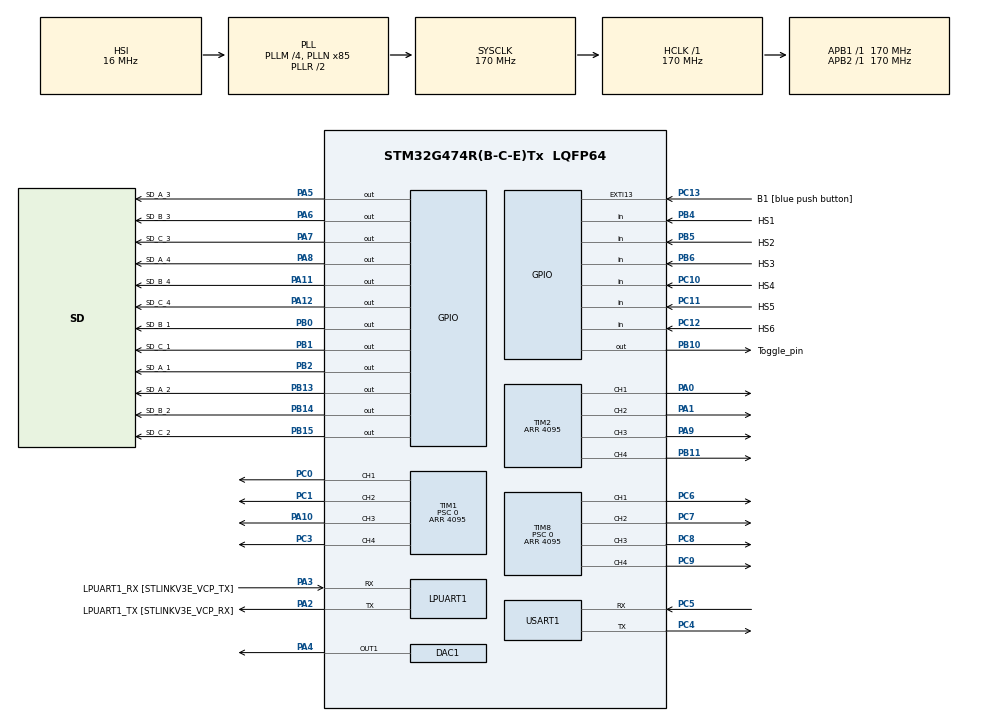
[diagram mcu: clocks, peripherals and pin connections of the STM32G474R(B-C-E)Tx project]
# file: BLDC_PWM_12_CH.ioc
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Mcu.Family=STM32G4
Mcu.Name=STM32G474R(B-C-E)Tx
Mcu.Package=LQFP64
NVIC.EXTI15_10_IRQn=true\:0\:0\:false\:false\:true\:true\:true\:true
NVIC.PriorityGroup=NVIC_PRIORITYGROUP_4
NVIC.TIM3_IRQn=true\:0\:0\:false\:false\:true\:true\:true\:true
NVIC.TIM6_DAC_IRQn=true\:0\:0\:false\:false\:true\:true\:true\:true
NVIC.USART1_IRQn=true\:0\:0\:false\:false\:true\:true\:true\:true
PA0.Signal=S_TIM2_CH1
PA1.Signal=S_TIM2_CH2
PA10.Signal=S_TIM1_CH3
PA11.GPIO_Label=SD_B_4
PA11.Signal=GPIO_Output
PA12.GPIO_Label=SD_C_4
PA12.Signal=GPIO_Output
PA13.GPIO_Label=T_SWDIO
PA13.Mode=Serial_Wire
PA13.Signal=SYS_JTMS-SWDIO
PA14.GPIO_Label=T_SWCLK
PA14.Mode=Serial_Wire
PA14.Signal=SYS_JTCK-SWCLK
PA2.GPIO_Label=LPUART1_TX [STLINKV3E_VCP_RX]
PA2.Mode=Asynchronous
PA2.Signal=LPUART1_TX
PA3.GPIO_Label=LPUART1_RX [STLINKV3E_VCP_TX]
PA3.Mode=Asynchronous
PA3.Signal=LPUART1_RX
PA4.Signal=COMP_DAC11_group
PA5.GPIO_Label=SD_A_3
PA5.Signal=GPIO_Output
PA6.GPIO_Label=SD_B_3
PA6.Signal=GPIO_Output
PA7.GPIO_Label=SD_C_3
PA7.Signal=GPIO_Output
PA8.GPIO_Label=SD_A_4
PA8.Signal=GPIO_Output
PA9.Signal=S_TIM2_CH3
PB0.GPIO_Label=SD_B_1
PB0.Signal=GPIO_Output
PB1.GPIO_Label=SD_C_1
PB1.Signal=GPIO_Output
PB10.GPIO_Label=Toggle_pin
PB10.Signal=GPIO_Output
PB11.Signal=S_TIM2_CH4
PB13.GPIO_Label=SD_A_2
PB13.Signal=GPIO_Output
PB14.GPIO_Label=SD_B_2
PB14.Signal=GPIO_Output
PB15.GPIO_Label=SD_C_2
PB15.Signal=GPIO_Output
PB2.GPIO_Label=SD_A_1
PB2.Signal=GPIO_Output
PB3.GPIO_Label=T_SWO
PB3.Signal=SYS_JTDO-SWO
PB4.GPIO_Label=HS1
PB4.GPIO_PuPd=GPIO_PULLDOWN
PB4.Signal=GPIO_Input
PB5.GPIO_Label=HS2
PB5.GPIO_PuPd=GPIO_PULLDOWN
PB5.Signal=GPIO_Input
PB6.GPIO_Label=HS3
PB6.GPIO_PuPd=GPIO_PULLDOWN
PB6.Signal=GPIO_Input
PC0.Signal=S_TIM1_CH1
PC1.Signal=S_TIM1_CH2
PC10.GPIO_Label=HS4
PC10.GPIO_PuPd=GPIO_PULLDOWN
PC10.Signal=GPIO_Input
PC11.GPIO_Label=HS5
PC11.GPIO_PuPd=GPIO_PULLDOWN
PC11.Signal=GPIO_Input
PC12.GPIO_Label=HS6
PC12.GPIO_PuPd=GPIO_PULLDOWN
PC12.Signal=GPIO_Input
PC13.GPIO_Label=B1 [blue push button]
PC13.Signal=GPXTI13
PC14-OSC32_IN.Mode=LSE-External-Oscillator
PC14-OSC32_IN.Signal=RCC_OSC32_IN
PC15-OSC32_OUT.Mode=LSE-External-Oscillator
PC15-OSC32_OUT.Signal=RCC_OSC32_OUT
PC3.Signal=S_TIM1_CH4
PC4.Mode=Asynchronous
PC4.Signal=USART1_TX
PC5.Mode=Asynchronous
PC5.Signal=USART1_RX
PC6.Signal=S_TIM8_CH1
PC7.Signal=S_TIM8_CH2
PC8.Signal=S_TIM8_CH3
PC9.Signal=S_TIM8_CH4
PF0-OSC_IN.Mode=HSE-External-Oscillator
PF0-OSC_IN.Signal=RCC_OSC_IN
PF1-OSC_OUT.Mode=HSE-External-Oscillator
PF1-OSC_OUT.Signal=RCC_OSC_OUT
ProjectManager.HeapSize=0x200
ProjectManager.StackSize=0x400
ProjectManager.TargetToolchain=STM32CubeIDE
RCC.ADC12Freq_Value=170000000
RCC.ADC345Freq_Value=170000000
RCC.AHBFreq_Value=170000000
RCC.APB1Freq_Value=170000000
RCC.APB1TimFreq_Value=170000000
RCC.APB2Freq_Value=170000000
RCC.APB2TimFreq_Value=170000000
RCC.CortexFreq_Value=170000000
RCC.EXTERNAL_CLOCK_VALUE=12288000
RCC.HCLKFreq_Value=170000000
RCC.HSE_VALUE=24000000
RCC.HSI48_VALUE=48000000
RCC.HSI_VALUE=16000000
RCC.PLLM=RCC_PLLM_DIV4
RCC.PLLN=85
RCC.RTCClockSelection=RCC_RTCCLKSOURCE_LSE
RCC.SYSCLKFreq_VALUE=170000000
RCC.SYSCLKSource=RCC_SYSCLKSOURCE_PLLCLK
RCC.USBFreq_Value=170000000
RCC.VCOOutputFreq_Value=340000000
SH.COMP_DAC11_group.0=DAC1_OUT1,DAC_OUT1
SH.S_TIM1_CH1.0=TIM1_CH1,PWM Generation1 CH1
SH.S_TIM1_CH2.0=TIM1_CH2,PWM Generation2 CH2
SH.S_TIM1_CH3.0=TIM1_CH3,PWM Generation3 CH3
SH.S_TIM1_CH4.0=TIM1_CH4,PWM Generation4 CH4
SH.S_TIM2_CH1.0=TIM2_CH1,PWM Generation1 CH1
SH.S_TIM2_CH2.0=TIM2_CH2,PWM Generation2 CH2
SH.S_TIM2_CH3.0=TIM2_CH3,PWM Generation3 CH3
SH.S_TIM2_CH4.0=TIM2_CH4,PWM Generation4 CH4
SH.S_TIM8_CH1.0=TIM8_CH1,PWM Generation1 CH1
SH.S_TIM8_CH2.0=TIM8_CH2,PWM Generation2 CH2
SH.S_TIM8_CH3.0=TIM8_CH3,PWM Generation3 CH3
SH.S_TIM8_CH4.0=TIM8_CH4,PWM Generation4 CH4
TIM1.Channel-PWM\ Generation1\ CH1=TIM_CHANNEL_1
TIM1.Channel-PWM\ Generation2\ CH2=TIM_CHANNEL_2
TIM1.Channel-PWM\ Generation3\ CH3=TIM_CHANNEL_3
TIM1.Channel-PWM\ Generation4\ CH4=TIM_CHANNEL_4
TIM1.ClockDivision=TIM_CLOCKDIVISION_DIV1
TIM1.CounterMode=TIM_COUNTERMODE_CENTERALIGNED1
TIM1.OCMode_PWM-PWM\ Generation1\ CH1=TIM_OCMODE_PWM1
TIM1.OCMode_PWM-PWM\ Generation2\ CH2=TIM_OCMODE_PWM1
TIM1.OCMode_PWM-PWM\ Generation3\ CH3=TIM_OCMODE_PWM1
TIM1.PeriodNoDither=4095
TIM1.Prescaler=0
TIM2.Channel-PWM\ Generation1\ CH1=TIM_CHANNEL_1
TIM2.Channel-PWM\ Generation2\ CH2=TIM_CHANNEL_2
TIM2.Channel-PWM\ Generation3\ CH3=TIM_CHANNEL_3
TIM2.Channel-PWM\ Generation4\ CH4=TIM_CHANNEL_4
TIM2.CounterMode=TIM_COUNTERMODE_CENTERALIGNED1
TIM2.PeriodNoDither=4095
TIM3.Channel-PWM\ Generation1\ No\ Output=TIM_CHANNEL_1
TIM3.Prescaler=5
TIM3.PulseNoDither_1=16000
TIM6.Prescaler=4095
TIM8.Channel-PWM\ Generation1\ CH1=TIM_CHANNEL_1
TIM8.Channel-PWM\ Generation2\ CH2=TIM_CHANNEL_2
TIM8.Channel-PWM\ Generation3\ CH3=TIM_CHANNEL_3
TIM8.Channel-PWM\ Generation4\ CH4=TIM_CHANNEL_4
TIM8.CounterMode=TIM_COUNTERMODE_CENTERALIGNED1
TIM8.PeriodNoDither=4095
TIM8.Prescaler=0
USART1.VirtualMode-Asynchronous=VM_ASYNC
VP_SYS_VS_DBSignals.Mode=DisableDeadBatterySignals
VP_TIM3_VS_no_output1.Mode=PWM Generation1 No Output
VP_TIM6_VS_ClockSourceINT.Mode=Enable_Timer
board=NUCLEO-G474RE

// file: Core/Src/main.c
/* USER CODE BEGIN Header */
/**
  ******************************************************************************
  * @file           : main.c
  * @brief          : Main program body
  ******************************************************************************
  * @attention
  *
  * Copyright (c) 2022 STMicroelectronics.
  * All rights reserved.
  *
  * This software is licensed under terms that can be found in the LICENSE file
  * in the root directory of this software component.
  * If no LICENSE file comes with this software, it is provided AS-IS.
  *
  ******************************************************************************
  */
/* USER CODE END Header */
#include "main.h"

/* USER CODE BEGIN PTD */
#include <stdio.h>

/* USER CODE END PTD */

/* USER CODE BEGIN PD */
//Inverter 1
#define		SET_SD_A_1			HAL_GPIO_WritePin(GPIOB, SD_A_1_Pin, GPIO_PIN_SET)
#define		RESET_SD_A_1		HAL_GPIO_WritePin(GPIOB, SD_A_1_Pin, GPIO_PIN_RESET)
#define		SET_SD_B_1			HAL_GPIO_WritePin(GPIOB, SD_B_1_Pin, GPIO_PIN_SET)
#define		RESET_SD_B_1		HAL_GPIO_WritePin(GPIOB, SD_B_1_Pin, GPIO_PIN_RESET)
#define		SET_SD_C_1			HAL_GPIO_WritePin(GPIOB, SD_C_1_Pin, GPIO_PIN_SET)
#define		RESET_SD_C_1		HAL_GPIO_WritePin(GPIOB, SD_C_1_Pin, GPIO_PIN_RESET)

#define		IN_A_1				TIM1->CCR1
#define		IN_B_1				TIM1->CCR2
#define		IN_C_1				TIM1->CCR3

//Inverter 2
#define		SET_SD_A_2			HAL_GPIO_WritePin(GPIOB, SD_A_2_Pin, GPIO_PIN_SET)
#define		RESET_SD_A_2		HAL_GPIO_WritePin(GPIOB, SD_A_2_Pin, GPIO_PIN_RESET)
#define		SET_SD_B_2			HAL_GPIO_WritePin(GPIOB, SD_B_2_Pin, GPIO_PIN_SET)
#define		RESET_SD_B_2		HAL_GPIO_WritePin(GPIOB, SD_B_2_Pin, GPIO_PIN_RESET)
#define		SET_SD_C_2			HAL_GPIO_WritePin(GPIOB, SD_C_2_Pin, GPIO_PIN_SET)
#define		RESET_SD_C_2		HAL_GPIO_WritePin(GPIOB, SD_C_2_Pin, GPIO_PIN_RESET)

#define		IN_A_2				TIM8->CCR1
#define		IN_B_2				TIM8->CCR2
#define		IN_C_2				TIM8->CCR3

//Inverter 3
#define		SET_SD_A_3			HAL_GPIO_WritePin(GPIOA, SD_A_3_Pin, GPIO_PIN_SET)
#define		RESET_SD_A_3		HAL_GPIO_WritePin(GPIOA, SD_A_3_Pin, GPIO_PIN_RESET)
#define		SET_SD_B_3			HAL_GPIO_WritePin(GPIOA, SD_B_3_Pin, GPIO_PIN_SET)
#define		RESET_SD_B_3		HAL_GPIO_WritePin(GPIOA, SD_B_3_Pin, GPIO_PIN_RESET)
#define		SET_SD_C_3			HAL_GPIO_WritePin(GPIOA, SD_C_3_Pin, GPIO_PIN_SET)
#define		RESET_SD_C_3		HAL_GPIO_WritePin(GPIOA, SD_C_3_Pin, GPIO_PIN_RESET)

#define		IN_A_3				TIM2->CCR1
#define		IN_B_3				TIM2->CCR2
#define		IN_C_3				TIM2->CCR3

//Inverter 4
#define		SET_SD_A_4			HAL_GPIO_WritePin(GPIOA, SD_A_4_Pin, GPIO_PIN_SET)
#define		RESET_SD_A_4		HAL_GPIO_WritePin(GPIOA, SD_A_4_Pin, GPIO_PIN_RESET)
#define		SET_SD_B_4			HAL_GPIO_WritePin(GPIOA, SD_B_4_Pin, GPIO_PIN_SET)
#define		RESET_SD_B_4		HAL_GPIO_WritePin(GPIOA, SD_B_4_Pin, GPIO_PIN_RESET)
#define		SET_SD_C_4			HAL_GPIO_WritePin(GPIOA, SD_C_4_Pin, GPIO_PIN_SET)
#define		RESET_SD_C_4		HAL_GPIO_WritePin(GPIOA, SD_C_4_Pin, GPIO_PIN_RESET)

#define		IN_A_4				TIM1->CCR4
#define		IN_B_4				TIM8->CCR4
#define		IN_C_4				TIM2->CCR4

/* USER CODE END PD */

DAC_HandleTypeDef hdac1;

UART_HandleTypeDef hlpuart1;
UART_HandleTypeDef huart1;

TIM_HandleTypeDef htim1;
TIM_HandleTypeDef htim2;
TIM_HandleTypeDef htim3;
TIM_HandleTypeDef htim6;
TIM_HandleTypeDef htim8;

/* USER CODE BEGIN PV */

uint16_t PWM = 2048;

volatile uint16_t PWM1 = 0;
uint16_t PWM2 = 0;
uint16_t PWM3 = 0;
uint16_t PWM4 = 0;

uint16_t Delay = 6;

char debug_UART1[6] = {0};

/* USER CODE END PV */

void SystemClock_Config(void);
static void MX_GPIO_Init(void);
static void MX_LPUART1_UART_Init(void);
static void MX_TIM1_Init(void);
static void MX_DAC1_Init(void);
static void MX_USART1_UART_Init(void);
static void MX_TIM8_Init(void);
static void MX_TIM2_Init(void);
static void MX_TIM3_Init(void);
static void MX_TIM6_Init(void);
/* USER CODE BEGIN PFP */
void state0_inv1(void);
void state1_inv1(void);
void state2_inv1(void);
void state3_inv1(void);
void state4_inv1(void);
void state5_inv1(void);
void state6_inv1(void);
void stateOff_inv1(void);

void state0_inv2(void);
void state1_inv2(void);
void state2_inv2(void);
void state3_inv2(void);
void state4_inv2(void);
void state5_inv2(void);
void state6_inv2(void);
void stateOff_inv2(void);

void state0_inv3(void);
void state1_inv3(void);
void state2_inv3(void);
void state3_inv3(void);
void state4_inv3(void);
void state5_inv3(void);
void state6_inv3(void);
void stateOff_inv3(void);

void state0_inv4(void);
void state1_inv4(void);
void state2_inv4(void);
void state3_inv4(void);
void state4_inv4(void);
void state5_inv4(void);
void state6_inv4(void);
void stateOff_inv4(void);

void Module1_2inv(void);
void Module2_2inv(void);

void Inverter1(uint8_t);
void Inverter2(uint8_t);
void Inverter3(uint8_t);
void Inverter4(uint8_t);

/*
InverterX(1) - all switches are off
InverterX(2) - low switches are on, high switches are off
InverterX(3) - 120 deg. commutation with PWM
InverterX(4) - 120 deg. commutation without PWM
*/

/* USER CODE END PFP */

int main(void)
{

  /* MCU Configuration--------------------------------------------------------*/

  /* Reset of all peripherals, Initializes the Flash interface and the Systick. */
  HAL_Init();

  /* Configure the system clock */
  SystemClock_Config();

  /* Initialize all configured peripherals */
  MX_GPIO_Init();
  MX_LPUART1_UART_Init();
  MX_TIM1_Init();
  MX_DAC1_Init();
  MX_USART1_UART_Init();
  MX_TIM8_Init();
  MX_TIM2_Init();
  MX_TIM3_Init();
  MX_TIM6_Init();
  /* USER CODE BEGIN 2 */
  HAL_TIM_Base_Start_IT(&htim6);

  HAL_TIM_PWM_Start(&htim1, TIM_CHANNEL_1);
  HAL_TIM_PWM_Start(&htim1, TIM_CHANNEL_2);
  HAL_TIM_PWM_Start(&htim1, TIM_CHANNEL_3);
  HAL_TIM_PWM_Start(&htim1, TIM_CHANNEL_4);

  HAL_TIM_PWM_Start(&htim2, TIM_CHANNEL_1);
  HAL_TIM_PWM_Start(&htim2, TIM_CHANNEL_2);
  HAL_TIM_PWM_Start(&htim2, TIM_CHANNEL_3);
  HAL_TIM_PWM_Start(&htim2, TIM_CHANNEL_4);

  HAL_TIM_PWM_Start(&htim8, TIM_CHANNEL_1);
  HAL_TIM_PWM_Start(&htim8, TIM_CHANNEL_2);
  HAL_TIM_PWM_Start(&htim8, TIM_CHANNEL_3);
  HAL_TIM_PWM_Start(&htim8, TIM_CHANNEL_4);

  PWM1 = 0;
  PWM2 = 0;
  PWM3 = 0;
  PWM4 = 0;

//  TIM1->CCR1 = 2048;
//  TIM1->CCR2 = 2048;
//  TIM1->CCR3 = 2048;
//  TIM1->CCR4 = 1048;
//
//  TIM2->CCR1 = 2048;
//  TIM2->CCR2 = 2048;
//  TIM2->CCR3 = 2048;
//  TIM2->CCR4 = 2048;
//
//  TIM8->CCR1 = 2048;
//  TIM8->CCR2 = 2048;
//  TIM8->CCR3 = 2048;
//  TIM8->CCR4 = 2048;
  uint32_t timer;
  uint32_t time;

  uint8_t currentState = 0;
  uint32_t stateOffTime[20];
//  uint32_t timer1;

  /* USER CODE END 2 */

  /* Infinite loop */
  /* USER CODE BEGIN WHILE */
	while (1) {

		//new line
//		Module1_2inv();
//		Module2_2inv();

		/*
		InverterX(1) - all switches are off
		InverterX(2) - low switches are on, high switches are off
		InverterX(3) - 120 deg. commutation with PWM
		InverterX(4) - 120 deg. commutation without PWM
		*/

		time = HAL_GetTick();

		switch (currentState)
		{
		case 0:
			Inverter1(1);
			Inverter2(1);
			Inverter3(1);
			Inverter4(1);
			if (time >= 3000)
			{
				stateOffTime[0] = time;
				currentState = 1;

			}

			break;
		case 1:
			if (time >= timer)
			{
				timer = time + 20;
				PWM1 += 10;
				PWM2 += 10;
			}

			if (PWM1 > 4095)
			{
				PWM1 = 4095;
				PWM2 = 4095;
				currentState = 2;
				stateOffTime[1] = time;
			}
//			PWM1 = 2000;
//			PWM2 = 2000;

			Inverter1(3);
			Inverter2(3);
			Inverter3(2);
			Inverter4(2);
			break;

		case 2:

			if ((time -stateOffTime[1]) >=4000)
			{
				currentState = 3;
				stateOffTime[2] = time;
			}

			Inverter1(4);
			Inverter2(1);
			Inverter3(2);
			Inverter4(1);
			break;

		case 3:
			if (time >= timer)
			{
				timer = time + 20;
				PWM3 += 10;
				PWM4 += 10;
			}

			if (PWM3 > 4095)
			{
				PWM3 = 4095;
				PWM4 = 4095;
				currentState = 4;
				stateOffTime[3] = time;
			}
//			PWM1 = 2000;
//			PWM2 = 2000;

			Inverter1(4);
			Inverter2(4);
			Inverter3(3);
			Inverter4(3);
			break;

		case 4:
		if ((time -stateOffTime[3]) >=4000)
		{
			currentState = 5;
			stateOffTime[2] = time;
		}

		Inverter1(4);
		Inverter2(1);
		Inverter3(4);
		Inverter4(1);
		break;

		case 5:
			if (time >= timer)
			{
				timer = time + 20;
				PWM3 -= 10;
				PWM4 -= 10;
			}

			if (PWM3 < 10)
			{
				PWM3 = 0;
				PWM4 = 0;
				currentState = 6;
				stateOffTime[5] = time;
			}
//			PWM1 = 2000;
//			PWM2 = 2000;

			Inverter1(4);
			Inverter2(4);
			Inverter3(3);
			Inverter4(3);
			break;

		case 6:
			if ((time -stateOffTime[5]) >=4000)
			{
				currentState = 7;
				stateOffTime[6] = time;
			}

			Inverter1(4);
			Inverter2(1);
			Inverter3(2);
			Inverter4(1);
			break;

		case 7:
			if (time >= timer)
			{
				timer = time + 20;
				PWM1 = PWM1 - 10;
				PWM2 -= 10;
			}

			if (PWM1 < 10)
			{
				PWM1 = 0;
				PWM2 = 0;
				currentState = 8;
				stateOffTime[7] = time;
			}

			Inverter1(3);
			Inverter2(3);
			Inverter3(2);
			Inverter4(2);
			break;

		case 8:
			Inverter1(1);
			Inverter2(1);
			Inverter3(1);
			Inverter4(1);

//		case 3:
//			if (time >= timer)
//			{
//				timer = time + 20;
//				PWM1 = PWM1 - 10;
//				PWM2 -= 10;
//			}
//
//			if (PWM1 < 20)
//			{
//				PWM1 = 0;
//				PWM2 = 0;
//				currentState = 0;
//				state3OffTime = time;
//			}
////			PWM1 = 2000;
////			PWM2 = 2000;
//
//			Inverter1(3);
//			Inverter2(3);
//			Inverter3(2);
//			Inverter4(2);
//			break;
		}

/*
		if (time < 15000) {
			Inverter1(3);
			Inverter2(1);
			Inverter3(2);
			Inverter4(1);
			if (time >= timer) {
				timer += 20;
				PWM1 = PWM1 + 10;
				PWM2 += 10;

				if (PWM1 > 4095)
					PWM1 = 4095;
				if (PWM2 > 4095)
					PWM2 = 4095;
			}
		}
		else if (time < 30000) {
			Inverter1(4);
			Inverter2(1);
			Inverter3(3);
			if (time >= timer) {
				timer += 20;
				PWM3 = PWM3 + 10;
				PWM4 += 10;

				if (PWM3 > 4095)
					PWM3 = 4095;
				if (PWM4 > 4095)
					PWM4 = 4095;

			}
		}
		else {
			Inverter1(4);
			Inverter2(1);
			Inverter3(3);
		}

		*/
//		else if (time < 40000) {
//			Inverter1(4);
//			Inverter2(1);
//			Inverter3(3);
//			if (time >= timer) {
//				timer += 20;
//				PWM3 = PWM3 - 10;
//				PWM4 += 10;
//
//				if (PWM3 < 40)
//					PWM3 = 0;
//				if (PWM4 < 40)
//					PWM4 = 0;
//			}
//		}

//		if (HAL_GetTick() >= timer) {
//			timer += 7;
//			Delay++;
//
//			if (Delay >=7) Delay = 1;
//
//			if (Delay == 1) state1_inv1();
//
//			else if (Delay == 2) state2_inv1();
//
//			else if (Delay == 3) state3_inv1();
//
//			else if (Delay == 4) state4_inv1();
//
//			else if (Delay == 5) state5_inv1();
//
//			else if (Delay == 6) state6_inv1();
//		}

//		state1_inv1();
//		HAL_Delay(Delay);
//
//		sprintf(debug_UART1, "%d \0\n", (int) HAL_GetTick());
//		HAL_UART_Transmit_IT(&huart1, (uint8_t*) &debug_UART1, 6);
//

//		state1_inv1();
//		HAL_Delay(Delay);
//
//		state2_inv1();
//		HAL_Delay(Delay);
//
//		state3_inv1();
//		HAL_Delay(Delay);
//
//		state4_inv1();
//		HAL_Delay(Delay);
//
//		state5_inv1();
//		HAL_Delay(Delay);
//
//		state6_inv1();
//		HAL_Delay(Delay);

//		state1_inv2();
//		HAL_Delay(Delay);
//
//		state2_inv2();
//		HAL_Delay(Delay);
//
//		state3_inv2();
//		HAL_Delay(Delay);
//
//		state4_inv2();
//		HAL_Delay(Delay);
//
//		state5_inv2();
//		HAL_Delay(Delay);
//
//		state6_inv2();
//		HAL_Delay(Delay);

//	   state6_inv1();
//	   state6_inv3();
//
//	   state6_inv2();
//	   state6_inv4();
//
//	   HAL_Delay(Delay);
//
//
//	   state5_inv1();
//	   state5_inv3();
//
//	   state5_inv2();
//	   state5_inv4();
//
//	   HAL_Delay(Delay);
//
//	   state4_inv1();
//	   state4_inv3();
//
//	   state4_inv2();
//	   state4_inv4();
//
//	   HAL_Delay(Delay);
//
//	   state3_inv1();
//	   state3_inv3();
//
//	   state3_inv2();
//	   state3_inv4();
//
//	   HAL_Delay(Delay);
//
//	   state2_inv1();
//	   state2_inv3();
//
//	   state2_inv2();
//	   state2_inv4();
//
//	   HAL_Delay(Delay);
//
//	   state1_inv1();
//	   state1_inv3();
//
//	   state1_inv2();
//	   state1_inv4();
//
//	   HAL_Delay(Delay);

//	  if(HAL_GPIO_ReadPin(GPIOC, HS4_Pin))
//			  HAL_GPIO_WritePin(GPIOB, SD_A_2_Pin, GPIO_PIN_SET);
//	  else
//		  HAL_GPIO_WritePin(GPIOB, SD_A_2_Pin, GPIO_PIN_RESET);
//
//	  if(HAL_GPIO_ReadPin(GPIOC, HS5_Pin))
//	  			  HAL_GPIO_WritePin(GPIOB, SD_B_2_Pin, GPIO_PIN_SET);
//	  else
//		  HAL_GPIO_WritePin(GPIOB, SD_B_2_Pin, GPIO_PIN_RESET);
//
//	  if(HAL_GPIO_ReadPin(GPIOC, HS6_Pin))
//	  			  HAL_GPIO_WritePin(GPIOB, SD_C_2_Pin, GPIO_PIN_SET);
//	  else
//		  HAL_GPIO_WritePin(GPIOB, SD_C_2_Pin, GPIO_PIN_RESET);

    /* USER CODE END WHILE */

  }
}

void SystemClock_Config(void)
{
  RCC_OscInitTypeDef RCC_OscInitStruct = {0};
  RCC_ClkInitTypeDef RCC_ClkInitStruct = {0};

  /** Configure the main internal regulator output voltage
  */
  HAL_PWREx_ControlVoltageScaling(PWR_REGULATOR_VOLTAGE_SCALE1_BOOST);

  /** Initializes the RCC Oscillators according to the specified parameters
  * in the RCC_OscInitTypeDef structure.
  */
  RCC_OscInitStruct.OscillatorType = RCC_OSCILLATORTYPE_HSI;
  RCC_OscInitStruct.HSIState = RCC_HSI_ON;
  RCC_OscInitStruct.HSICalibrationValue = RCC_HSICALIBRATION_DEFAULT;
  RCC_OscInitStruct.PLL.PLLState = RCC_PLL_ON;
  RCC_OscInitStruct.PLL.PLLSource = RCC_PLLSOURCE_HSI;
  RCC_OscInitStruct.PLL.PLLM = RCC_PLLM_DIV4;
  RCC_OscInitStruct.PLL.PLLN = 85;
  RCC_OscInitStruct.PLL.PLLP = RCC_PLLP_DIV2;
  RCC_OscInitStruct.PLL.PLLQ = RCC_PLLQ_DIV2;
  RCC_OscInitStruct.PLL.PLLR = RCC_PLLR_DIV2;
  if (HAL_RCC_OscConfig(&RCC_OscInitStruct) != HAL_OK)
  {
    Error_Handler();
  }

  /** Initializes the CPU, AHB and APB buses clocks
  */
  RCC_ClkInitStruct.ClockType = RCC_CLOCKTYPE_HCLK|RCC_CLOCKTYPE_SYSCLK
                              |RCC_CLOCKTYPE_PCLK1|RCC_CLOCKTYPE_PCLK2;
  RCC_ClkInitStruct.SYSCLKSource = RCC_SYSCLKSOURCE_PLLCLK;
  RCC_ClkInitStruct.AHBCLKDivider = RCC_SYSCLK_DIV1;
  RCC_ClkInitStruct.APB1CLKDivider = RCC_HCLK_DIV1;
  RCC_ClkInitStruct.APB2CLKDivider = RCC_HCLK_DIV1;

  if (HAL_RCC_ClockConfig(&RCC_ClkInitStruct, FLASH_LATENCY_4) != HAL_OK)
  {
    Error_Handler();
  }
}

static void MX_DAC1_Init(void)
{

  DAC_ChannelConfTypeDef sConfig = {0};

  /** DAC Initialization
  */
  hdac1.Instance = DAC1;
  if (HAL_DAC_Init(&hdac1) != HAL_OK)
  {
    Error_Handler();
  }

  /** DAC channel OUT1 config
  */
  sConfig.DAC_HighFrequency = DAC_HIGH_FREQUENCY_INTERFACE_MODE_AUTOMATIC;
  sConfig.DAC_DMADoubleDataMode = DISABLE;
  sConfig.DAC_SignedFormat = DISABLE;
  sConfig.DAC_SampleAndHold = DAC_SAMPLEANDHOLD_DISABLE;
  sConfig.DAC_Trigger = DAC_TRIGGER_NONE;
  sConfig.DAC_Trigger2 = DAC_TRIGGER_NONE;
  sConfig.DAC_OutputBuffer = DAC_OUTPUTBUFFER_ENABLE;
  sConfig.DAC_ConnectOnChipPeripheral = DAC_CHIPCONNECT_EXTERNAL;
  sConfig.DAC_UserTrimming = DAC_TRIMMING_FACTORY;
  if (HAL_DAC_ConfigChannel(&hdac1, &sConfig, DAC_CHANNEL_1) != HAL_OK)
  {
    Error_Handler();
  }

}

static void MX_LPUART1_UART_Init(void)
{

  hlpuart1.Instance = LPUART1;
  hlpuart1.Init.BaudRate = 209700;
  hlpuart1.Init.WordLength = UART_WORDLENGTH_8B;
  hlpuart1.Init.StopBits = UART_STOPBITS_1;
  hlpuart1.Init.Parity = UART_PARITY_NONE;
  hlpuart1.Init.Mode = UART_MODE_TX_RX;
  hlpuart1.Init.HwFlowCtl = UART_HWCONTROL_NONE;
  hlpuart1.Init.OneBitSampling = UART_ONE_BIT_SAMPLE_DISABLE;
  hlpuart1.Init.ClockPrescaler = UART_PRESCALER_DIV1;
  hlpuart1.AdvancedInit.AdvFeatureInit = UART_ADVFEATURE_NO_INIT;
  if (HAL_UART_Init(&hlpuart1) != HAL_OK)
  {
    Error_Handler();
  }
  if (HAL_UARTEx_SetTxFifoThreshold(&hlpuart1, UART_TXFIFO_THRESHOLD_1_8) != HAL_OK)
  {
    Error_Handler();
  }
  if (HAL_UARTEx_SetRxFifoThreshold(&hlpuart1, UART_RXFIFO_THRESHOLD_1_8) != HAL_OK)
  {
    Error_Handler();
  }
  if (HAL_UARTEx_DisableFifoMode(&hlpuart1) != HAL_OK)
  {
    Error_Handler();
  }

}

static void MX_USART1_UART_Init(void)
{

  huart1.Instance = USART1;
  huart1.Init.BaudRate = 115200;
  huart1.Init.WordLength = UART_WORDLENGTH_8B;
  huart1.Init.StopBits = UART_STOPBITS_1;
  huart1.Init.Parity = UART_PARITY_NONE;
  huart1.Init.Mode = UART_MODE_TX_RX;
  huart1.Init.HwFlowCtl = UART_HWCONTROL_NONE;
  huart1.Init.OverSampling = UART_OVERSAMPLING_16;
  huart1.Init.OneBitSampling = UART_ONE_BIT_SAMPLE_DISABLE;
  huart1.Init.ClockPrescaler = UART_PRESCALER_DIV1;
  huart1.AdvancedInit.AdvFeatureInit = UART_ADVFEATURE_NO_INIT;
  if (HAL_UART_Init(&huart1) != HAL_OK)
  {
    Error_Handler();
  }
  if (HAL_UARTEx_SetTxFifoThreshold(&huart1, UART_TXFIFO_THRESHOLD_1_8) != HAL_OK)
  {
    Error_Handler();
  }
  if (HAL_UARTEx_SetRxFifoThreshold(&huart1, UART_RXFIFO_THRESHOLD_1_8) != HAL_OK)
  {
    Error_Handler();
  }
  if (HAL_UARTEx_DisableFifoMode(&huart1) != HAL_OK)
  {
    Error_Handler();
  }

}

static void MX_TIM1_Init(void)
{

  TIM_MasterConfigTypeDef sMasterConfig = {0};
  TIM_OC_InitTypeDef sConfigOC = {0};
  TIM_BreakDeadTimeConfigTypeDef sBreakDeadTimeConfig = {0};

  htim1.Instance = TIM1;
  htim1.Init.Prescaler = 0;
  htim1.Init.CounterMode = TIM_COUNTERMODE_CENTERALIGNED1;
  htim1.Init.Period = 4095;
  htim1.Init.ClockDivision = TIM_CLOCKDIVISION_DIV1;
  htim1.Init.RepetitionCounter = 0;
  htim1.Init.AutoReloadPreload = TIM_AUTORELOAD_PRELOAD_DISABLE;
  if (HAL_TIM_PWM_Init(&htim1) != HAL_OK)
  {
    Error_Handler();
  }
  sMasterConfig.MasterOutputTrigger = TIM_TRGO_RESET;
  sMasterConfig.MasterOutputTrigger2 = TIM_TRGO2_RESET;
  sMasterConfig.MasterSlaveMode = TIM_MASTERSLAVEMODE_DISABLE;
  if (HAL_TIMEx_MasterConfigSynchronization(&htim1, &sMasterConfig) != HAL_OK)
  {
    Error_Handler();
  }
  sConfigOC.OCMode = TIM_OCMODE_PWM1;
  sConfigOC.Pulse = 0;
  sConfigOC.OCPolarity = TIM_OCPOLARITY_HIGH;
  sConfigOC.OCNPolarity = TIM_OCNPOLARITY_HIGH;
  sConfigOC.OCFastMode = TIM_OCFAST_DISABLE;
  sConfigOC.OCIdleState = TIM_OCIDLESTATE_RESET;
  sConfigOC.OCNIdleState = TIM_OCNIDLESTATE_RESET;
  if (HAL_TIM_PWM_ConfigChannel(&htim1, &sConfigOC, TIM_CHANNEL_1) != HAL_OK)
  {
    Error_Handler();
  }
  if (HAL_TIM_PWM_ConfigChannel(&htim1, &sConfigOC, TIM_CHANNEL_2) != HAL_OK)
  {
    Error_Handler();
  }
  if (HAL_TIM_PWM_ConfigChannel(&htim1, &sConfigOC, TIM_CHANNEL_3) != HAL_OK)
  {
    Error_Handler();
  }
  if (HAL_TIM_PWM_ConfigChannel(&htim1, &sConfigOC, TIM_CHANNEL_4) != HAL_OK)
  {
    Error_Handler();
  }
  sBreakDeadTimeConfig.OffStateRunMode = TIM_OSSR_DISABLE;
  sBreakDeadTimeConfig.OffStateIDLEMode = TIM_OSSI_DISABLE;
  sBreakDeadTimeConfig.LockLevel = TIM_LOCKLEVEL_OFF;
  sBreakDeadTimeConfig.DeadTime = 0;
  sBreakDeadTimeConfig.BreakState = TIM_BREAK_DISABLE;
  sBreakDeadTimeConfig.BreakPolarity = TIM_BREAKPOLARITY_HIGH;
  sBreakDeadTimeConfig.BreakFilter = 0;
  sBreakDeadTimeConfig.BreakAFMode = TIM_BREAK_AFMODE_INPUT;
  sBreakDeadTimeConfig.Break2State = TIM_BREAK2_DISABLE;
  sBreakDeadTimeConfig.Break2Polarity = TIM_BREAK2POLARITY_HIGH;
  sBreakDeadTimeConfig.Break2Filter = 0;
  sBreakDeadTimeConfig.Break2AFMode = TIM_BREAK_AFMODE_INPUT;
  sBreakDeadTimeConfig.AutomaticOutput = TIM_AUTOMATICOUTPUT_DISABLE;
  if (HAL_TIMEx_ConfigBreakDeadTime(&htim1, &sBreakDeadTimeConfig) != HAL_OK)
  {
    Error_Handler();
  }
  HAL_TIM_MspPostInit(&htim1);

}

static void MX_TIM2_Init(void)
{

  TIM_MasterConfigTypeDef sMasterConfig = {0};
  TIM_OC_InitTypeDef sConfigOC = {0};

  htim2.Instance = TIM2;
  htim2.Init.Prescaler = 0;
  htim2.Init.CounterMode = TIM_COUNTERMODE_CENTERALIGNED1;
  htim2.Init.Period = 4095;
  htim2.Init.ClockDivision = TIM_CLOCKDIVISION_DIV1;
  htim2.Init.AutoReloadPreload = TIM_AUTORELOAD_PRELOAD_DISABLE;
  if (HAL_TIM_PWM_Init(&htim2) != HAL_OK)
  {
    Error_Handler();
  }
  sMasterConfig.MasterOutputTrigger = TIM_TRGO_RESET;
  sMasterConfig.MasterSlaveMode = TIM_MASTERSLAVEMODE_DISABLE;
  if (HAL_TIMEx_MasterConfigSynchronization(&htim2, &sMasterConfig) != HAL_OK)
  {
    Error_Handler();
  }
  sConfigOC.OCMode = TIM_OCMODE_PWM1;
  sConfigOC.Pulse = 0;
  sConfigOC.OCPolarity = TIM_OCPOLARITY_HIGH;
  sConfigOC.OCFastMode = TIM_OCFAST_DISABLE;
  if (HAL_TIM_PWM_ConfigChannel(&htim2, &sConfigOC, TIM_CHANNEL_1) != HAL_OK)
  {
    Error_Handler();
  }
  if (HAL_TIM_PWM_ConfigChannel(&htim2, &sConfigOC, TIM_CHANNEL_2) != HAL_OK)
  {
    Error_Handler();
  }
  if (HAL_TIM_PWM_ConfigChannel(&htim2, &sConfigOC, TIM_CHANNEL_3) != HAL_OK)
  {
    Error_Handler();
  }
  if (HAL_TIM_PWM_ConfigChannel(&htim2, &sConfigOC, TIM_CHANNEL_4) != HAL_OK)
  {
    Error_Handler();
  }
  HAL_TIM_MspPostInit(&htim2);

}

static void MX_TIM3_Init(void)
{

  TIM_MasterConfigTypeDef sMasterConfig = {0};
  TIM_OC_InitTypeDef sConfigOC = {0};

  htim3.Instance = TIM3;
  htim3.Init.Prescaler = 5;
  htim3.Init.CounterMode = TIM_COUNTERMODE_UP;
  htim3.Init.Period = 65535;
  htim3.Init.ClockDivision = TIM_CLOCKDIVISION_DIV1;
  htim3.Init.AutoReloadPreload = TIM_AUTORELOAD_PRELOAD_DISABLE;
  if (HAL_TIM_PWM_Init(&htim3) != HAL_OK)
  {
    Error_Handler();
  }
  sMasterConfig.MasterOutputTrigger = TIM_TRGO_RESET;
  sMasterConfig.MasterSlaveMode = TIM_MASTERSLAVEMODE_DISABLE;
  if (HAL_TIMEx_MasterConfigSynchronization(&htim3, &sMasterConfig) != HAL_OK)
  {
    Error_Handler();
  }
  sConfigOC.OCMode = TIM_OCMODE_PWM1;
  sConfigOC.Pulse = 16000;
  sConfigOC.OCPolarity = TIM_OCPOLARITY_HIGH;
  sConfigOC.OCFastMode = TIM_OCFAST_DISABLE;
  if (HAL_TIM_PWM_ConfigChannel(&htim3, &sConfigOC, TIM_CHANNEL_1) != HAL_OK)
  {
    Error_Handler();
  }

}

static void MX_TIM6_Init(void)
{

  TIM_MasterConfigTypeDef sMasterConfig = {0};

  htim6.Instance = TIM6;
  htim6.Init.Prescaler = 4095;
  htim6.Init.CounterMode = TIM_COUNTERMODE_UP;
  htim6.Init.Period = 65535;
  htim6.Init.AutoReloadPreload = TIM_AUTORELOAD_PRELOAD_DISABLE;
  if (HAL_TIM_Base_Init(&htim6) != HAL_OK)
  {
    Error_Handler();
  }
  sMasterConfig.MasterOutputTrigger = TIM_TRGO_RESET;
  sMasterConfig.MasterSlaveMode = TIM_MASTERSLAVEMODE_DISABLE;
  if (HAL_TIMEx_MasterConfigSynchronization(&htim6, &sMasterConfig) != HAL_OK)
  {
    Error_Handler();
  }

}

static void MX_TIM8_Init(void)
{

  TIM_MasterConfigTypeDef sMasterConfig = {0};
  TIM_OC_InitTypeDef sConfigOC = {0};
  TIM_BreakDeadTimeConfigTypeDef sBreakDeadTimeConfig = {0};

  htim8.Instance = TIM8;
  htim8.Init.Prescaler = 0;
  htim8.Init.CounterMode = TIM_COUNTERMODE_CENTERALIGNED1;
  htim8.Init.Period = 4095;
  htim8.Init.ClockDivision = TIM_CLOCKDIVISION_DIV1;
  htim8.Init.RepetitionCounter = 0;
  htim8.Init.AutoReloadPreload = TIM_AUTORELOAD_PRELOAD_DISABLE;
  if (HAL_TIM_PWM_Init(&htim8) != HAL_OK)
  {
    Error_Handler();
  }
  sMasterConfig.MasterOutputTrigger = TIM_TRGO_RESET;
  sMasterConfig.MasterOutputTrigger2 = TIM_TRGO2_RESET;
  sMasterConfig.MasterSlaveMode = TIM_MASTERSLAVEMODE_DISABLE;
  if (HAL_TIMEx_MasterConfigSynchronization(&htim8, &sMasterConfig) != HAL_OK)
  {
    Error_Handler();
  }
  sConfigOC.OCMode = TIM_OCMODE_PWM1;
  sConfigOC.Pulse = 0;
  sConfigOC.OCPolarity = TIM_OCPOLARITY_HIGH;
  sConfigOC.OCNPolarity = TIM_OCNPOLARITY_HIGH;
  sConfigOC.OCFastMode = TIM_OCFAST_DISABLE;
  sConfigOC.OCIdleState = TIM_OCIDLESTATE_RESET;
  sConfigOC.OCNIdleState = TIM_OCNIDLESTATE_RESET;
  if (HAL_TIM_PWM_ConfigChannel(&htim8, &sConfigOC, TIM_CHANNEL_1) != HAL_OK)
  {
    Error_Handler();
  }
  if (HAL_TIM_PWM_ConfigChannel(&htim8, &sConfigOC, TIM_CHANNEL_2) != HAL_OK)
  {
    Error_Handler();
  }
  if (HAL_TIM_PWM_ConfigChannel(&htim8, &sConfigOC, TIM_CHANNEL_3) != HAL_OK)
  {
    Error_Handler();
  }
  if (HAL_TIM_PWM_ConfigChannel(&htim8, &sConfigOC, TIM_CHANNEL_4) != HAL_OK)
  {
    Error_Handler();
  }
  sBreakDeadTimeConfig.OffStateRunMode = TIM_OSSR_DISABLE;
  sBreakDeadTimeConfig.OffStateIDLEMode = TIM_OSSI_DISABLE;
  sBreakDeadTimeConfig.LockLevel = TIM_LOCKLEVEL_OFF;
  sBreakDeadTimeConfig.DeadTime = 0;
  sBreakDeadTimeConfig.BreakState = TIM_BREAK_DISABLE;
  sBreakDeadTimeConfig.BreakPolarity = TIM_BREAKPOLARITY_HIGH;
  sBreakDeadTimeConfig.BreakFilter = 0;
  sBreakDeadTimeConfig.BreakAFMode = TIM_BREAK_AFMODE_INPUT;
  sBreakDeadTimeConfig.Break2State = TIM_BREAK2_DISABLE;
  sBreakDeadTimeConfig.Break2Polarity = TIM_BREAK2POLARITY_HIGH;
  sBreakDeadTimeConfig.Break2Filter = 0;
  sBreakDeadTimeConfig.Break2AFMode = TIM_BREAK_AFMODE_INPUT;
  sBreakDeadTimeConfig.AutomaticOutput = TIM_AUTOMATICOUTPUT_DISABLE;
  if (HAL_TIMEx_ConfigBreakDeadTime(&htim8, &sBreakDeadTimeConfig) != HAL_OK)
  {
    Error_Handler();
  }
  HAL_TIM_MspPostInit(&htim8);

}

static void MX_GPIO_Init(void)
{
  GPIO_InitTypeDef GPIO_InitStruct = {0};

  /* GPIO Ports Clock Enable */
  __HAL_RCC_GPIOC_CLK_ENABLE();
  __HAL_RCC_GPIOF_CLK_ENABLE();
  __HAL_RCC_GPIOA_CLK_ENABLE();
  __HAL_RCC_GPIOB_CLK_ENABLE();

  /*Configure GPIO pin Output Level */
  HAL_GPIO_WritePin(GPIOA, SD_A_3_Pin|SD_B_3_Pin|SD_C_3_Pin|SD_A_4_Pin
                          |SD_B_4_Pin|SD_C_4_Pin, GPIO_PIN_RESET);

  /*Configure GPIO pin Output Level */
  HAL_GPIO_WritePin(GPIOB, SD_B_1_Pin|SD_C_1_Pin|SD_A_1_Pin|Toggle_pin_Pin
                          |SD_A_2_Pin|SD_B_2_Pin|SD_C_2_Pin, GPIO_PIN_RESET);

  /*Configure GPIO pin : B1_Pin */
  GPIO_InitStruct.Pin = B1_Pin;
  GPIO_InitStruct.Mode = GPIO_MODE_IT_RISING;
  GPIO_InitStruct.Pull = GPIO_NOPULL;
  HAL_GPIO_Init(B1_GPIO_Port, &GPIO_InitStruct);

  /*Configure GPIO pins : SD_A_3_Pin SD_B_3_Pin SD_C_3_Pin SD_A_4_Pin
                           SD_B_4_Pin SD_C_4_Pin */
  GPIO_InitStruct.Pin = SD_A_3_Pin|SD_B_3_Pin|SD_C_3_Pin|SD_A_4_Pin
                          |SD_B_4_Pin|SD_C_4_Pin;
  GPIO_InitStruct.Mode = GPIO_MODE_OUTPUT_PP;
  GPIO_InitStruct.Pull = GPIO_NOPULL;
  GPIO_InitStruct.Speed = GPIO_SPEED_FREQ_LOW;
  HAL_GPIO_Init(GPIOA, &GPIO_InitStruct);

  /*Configure GPIO pins : SD_B_1_Pin SD_C_1_Pin SD_A_1_Pin Toggle_pin_Pin
                           SD_A_2_Pin SD_B_2_Pin SD_C_2_Pin */
  GPIO_InitStruct.Pin = SD_B_1_Pin|SD_C_1_Pin|SD_A_1_Pin|Toggle_pin_Pin
                          |SD_A_2_Pin|SD_B_2_Pin|SD_C_2_Pin;
  GPIO_InitStruct.Mode = GPIO_MODE_OUTPUT_PP;
  GPIO_InitStruct.Pull = GPIO_NOPULL;
  GPIO_InitStruct.Speed = GPIO_SPEED_FREQ_LOW;
  HAL_GPIO_Init(GPIOB, &GPIO_InitStruct);

  /*Configure GPIO pins : HS4_Pin HS5_Pin HS6_Pin */
  GPIO_InitStruct.Pin = HS4_Pin|HS5_Pin|HS6_Pin;
  GPIO_InitStruct.Mode = GPIO_MODE_INPUT;
  GPIO_InitStruct.Pull = GPIO_PULLDOWN;
  HAL_GPIO_Init(GPIOC, &GPIO_InitStruct);

  /*Configure GPIO pins : HS1_Pin HS2_Pin HS3_Pin */
  GPIO_InitStruct.Pin = HS1_Pin|HS2_Pin|HS3_Pin;
  GPIO_InitStruct.Mode = GPIO_MODE_INPUT;
  GPIO_InitStruct.Pull = GPIO_PULLDOWN;
  HAL_GPIO_Init(GPIOB, &GPIO_InitStruct);

  /* EXTI interrupt init*/
  HAL_NVIC_SetPriority(EXTI15_10_IRQn, 0, 0);
  HAL_NVIC_EnableIRQ(EXTI15_10_IRQn);

}

/* USER CODE BEGIN 4 */

//void HAL_TIM_PWM_PulseFinishedCallback (TIM_HandleTypeDef * htim){
//HAL_GPIO_TogglePin (GPIOB, Toggle_pin_Pin);
//}

void state0_inv1() {

	IN_A_1 = 0;
	SET_SD_A_1;

	IN_B_1 = 0;
	SET_SD_B_1;

	IN_C_1 = 0;
	SET_SD_C_1;

}

void state1_inv1() {

	IN_A_1 = 0;
	RESET_SD_A_1;

	IN_B_1 = PWM1;
	SET_SD_B_1;

	IN_C_1 = 0;
	SET_SD_C_1;

//		TIM1->CCR1 = 0;
//		TIM1->CCR2 = PWM1;
//		TIM1->CCR3 = PWM1;
//    	HAL_GPIO_WritePin(GPIOB, SD_A_1_Pin, GPIO_PIN_RESET);
//		HAL_GPIO_WritePin(GPIOB, SD_B_1_Pin, GPIO_PIN_SET);
//		HAL_GPIO_WritePin(GPIOB, SD_C_1_Pin, GPIO_PIN_RESET);
}
void state2_inv1() {

	IN_A_1 = PWM1;
	SET_SD_A_1;

	IN_B_1 = 0;
	RESET_SD_B_1;

	IN_C_1 = 0;
	SET_SD_C_1;

//		TIM1->CCR1 = PWM1;
//		TIM1->CCR2 = 0;
//		TIM1->CCR3 = PWM1;
//    	HAL_GPIO_WritePin(GPIOB, SD_A_1_Pin, GPIO_PIN_SET);
//		HAL_GPIO_WritePin(GPIOB, SD_B_1_Pin, GPIO_PIN_RESET);
//		HAL_GPIO_WritePin(GPIOB, SD_C_1_Pin, GPIO_PIN_RESET);
}

void state3_inv1() {

	IN_A_1 = PWM1;
	SET_SD_A_1;

	IN_B_1 = 0;
	SET_SD_B_1;

	IN_C_1 = 0;
	RESET_SD_C_1;

//		TIM1->CCR1 = PWM1;
//		TIM1->CCR2 = PWM1;
//		TIM1->CCR3 = 0;
//    	HAL_GPIO_WritePin(GPIOB, SD_A_1_Pin, GPIO_PIN_SET);
//		HAL_GPIO_WritePin(GPIOB, SD_B_1_Pin, GPIO_PIN_RESET);
//		HAL_GPIO_WritePin(GPIOB, SD_C_1_Pin, GPIO_PIN_RESET);
}

void state4_inv1() {

	IN_A_1 = 0;
	RESET_SD_A_1;

	IN_B_1 = 0;
	SET_SD_B_1;

	IN_C_1 = PWM1;
	SET_SD_C_1;

//		TIM1->CCR1 = 0;
//		TIM1->CCR2 = PWM1;
//		TIM1->CCR3 = PWM1;
//    	HAL_GPIO_WritePin(GPIOB, SD_A_1_Pin, GPIO_PIN_RESET);
//		HAL_GPIO_WritePin(GPIOB, SD_B_1_Pin, GPIO_PIN_RESET);
//		HAL_GPIO_WritePin(GPIOB, SD_C_1_Pin, GPIO_PIN_SET);
}

void state5_inv1() {

	IN_A_1 = 0;
	SET_SD_A_1;

	IN_B_1 = 0;
	RESET_SD_B_1;

	IN_C_1 = PWM1;
	SET_SD_C_1;

//	TIM1->CCR1 = PWM1;
//	TIM1->CCR2 = 0;
//	TIM1->CCR3 = PWM1;
//	HAL_GPIO_WritePin(GPIOB, SD_A_1_Pin, GPIO_PIN_RESET);
//	HAL_GPIO_WritePin(GPIOB, SD_B_1_Pin, GPIO_PIN_RESET);
//	HAL_GPIO_WritePin(GPIOB, SD_C_1_Pin, GPIO_PIN_SET);
}

void state6_inv1() {

	IN_A_1 = 0;
	SET_SD_A_1;

	IN_B_1 = PWM1;
	SET_SD_B_1;

	IN_C_1 = 0;
	RESET_SD_C_1;

//		TIM1->CCR1 = PWM1;
//		TIM1->CCR2 = PWM1;
//		TIM1->CCR3 = 0;
//    	HAL_GPIO_WritePin(GPIOB, SD_A_1_Pin, GPIO_PIN_RESET);
//		HAL_GPIO_WritePin(GPIOB, SD_B_1_Pin, GPIO_PIN_SET);
//		HAL_GPIO_WritePin(GPIOB, SD_C_1_Pin, GPIO_PIN_RESET);
}

void stateOff_inv1() {

	IN_A_1 = 0;
	RESET_SD_A_1;

	IN_B_1 = 0;
	RESET_SD_B_1;

	IN_C_1 = 0;
	RESET_SD_C_1;

}

//Inverter 2
void state0_inv2() {
	IN_A_2 = 0;
	SET_SD_A_2;

	IN_B_2 = 0;
	SET_SD_B_2;

	IN_C_2 = 0;
	SET_SD_C_2;
}

void state1_inv2() {
	IN_A_2 = 0;
	RESET_SD_A_2;

	IN_B_2 = PWM2;
	SET_SD_B_2;

	IN_C_2 = 0;
	SET_SD_C_2;
}
void state2_inv2() {
	IN_A_2 = PWM2;
	SET_SD_A_2;

	IN_B_2 = 0;
	RESET_SD_B_2;

	IN_C_2 = 0;
	SET_SD_C_2;
}
void state3_inv2() {
	IN_A_2 = PWM2;
	SET_SD_A_2;

	IN_B_2 = 0;
	SET_SD_B_2;

	IN_C_2 = 0;
	RESET_SD_C_2;
}
void state4_inv2() {
	IN_A_2 = 0;
	RESET_SD_A_2;

	IN_B_2 = 0;
	SET_SD_B_2;

	IN_C_2 = PWM2;
	SET_SD_C_2;
}
void state5_inv2() {
	IN_A_2 = 0;
	SET_SD_A_2;

	IN_B_2 = 0;
	RESET_SD_B_2;

	IN_C_2 = PWM2;
	SET_SD_C_2;
}
void state6_inv2() {
	IN_A_2 = 0;
	SET_SD_A_2;

	IN_B_2 = PWM2;
	SET_SD_B_2;

	IN_C_2 = 0;
	RESET_SD_C_2;
}

void stateOff_inv2() {
	IN_A_2 = 0;
	RESET_SD_A_2;

	IN_B_2 = 0;
	RESET_SD_B_2;

	IN_C_2 = 0;
	RESET_SD_C_2;
}

//Inverter 3
void state0_inv3() {
	IN_A_3 = 0;
	SET_SD_A_3;

	IN_B_3 = 0;
	SET_SD_B_3;

	IN_C_3 = 0;
	SET_SD_C_3;
}

void state1_inv3() {
	IN_A_3 = 0;
	RESET_SD_A_3;

	IN_B_3 = 0;
	SET_SD_B_3;

	IN_C_3 = PWM3;
	SET_SD_C_3;
}
void state2_inv3() {
	IN_A_3 = 0;
	SET_SD_A_3;

	IN_B_3 = 0;
	RESET_SD_B_3;

	IN_C_3 = PWM3;
	SET_SD_C_3;
}
void state3_inv3() {
	IN_A_3 = 0;
	SET_SD_A_3;

	IN_B_3 = PWM3;
	SET_SD_B_3;

	IN_C_3 = 0;
	RESET_SD_C_3;
}
void state4_inv3() {
	IN_A_3 = 0;
	RESET_SD_A_3;

	IN_B_3 = PWM3;
	SET_SD_B_3;

	IN_C_3 = 0;
	SET_SD_C_3;
}
void state5_inv3() {
	IN_A_3 = PWM3;
	SET_SD_A_3;

	IN_B_3 = 0;
	RESET_SD_B_3;

	IN_C_3 = 0;
	SET_SD_C_3;
}
void state6_inv3() {
	IN_A_3 = PWM3;
	SET_SD_A_3;

	IN_B_3 = 0;
	SET_SD_B_3;

	IN_C_3 = 0;
	RESET_SD_C_3;
}

void stateOff_inv3() {
	IN_A_3 = 0;
	RESET_SD_A_3;

	IN_B_3 = 0;
	RESET_SD_B_3;

	IN_C_3 = 0;
	RESET_SD_C_3;
}

	//Inverter 4
void state0_inv4() {
	IN_A_4 = 0;
	SET_SD_A_4;

	IN_B_4 = 0;
	SET_SD_B_4;

	IN_C_4 = 0;
	SET_SD_C_4;
}

void state1_inv4() {
	IN_A_4 = 0;
	RESET_SD_A_4;

	IN_B_4 = 0;
	SET_SD_B_4;

	IN_C_4 = PWM4;
	SET_SD_C_4;
}
void state2_inv4() {
	IN_A_4 = 0;
	SET_SD_A_4;

	IN_B_4 = 0;
	RESET_SD_B_4;

	IN_C_4 = PWM4;
	SET_SD_C_4;
}
void state3_inv4() {
	IN_A_4 = 0;
	SET_SD_A_4;

	IN_B_4 = PWM4;
	SET_SD_B_4;

	IN_C_4 = 0;
	RESET_SD_C_4;
}
void state4_inv4() {
	IN_A_4 = 0;
	RESET_SD_A_4;

	IN_B_4 = PWM4;
	SET_SD_B_4;

	IN_C_4 = 0;
	SET_SD_C_4;
}
void state5_inv4() {
	IN_A_4 = PWM4;
	SET_SD_A_4;

	IN_B_4 = 0;
	RESET_SD_B_4;

	IN_C_4 = 0;
	SET_SD_C_4;
}
void state6_inv4() {

	IN_A_4 = PWM4;
	SET_SD_A_4;

	IN_B_4 = 0;
	SET_SD_B_4;

	IN_C_4 = 0;
	RESET_SD_C_4;
}

void stateOff_inv4() {

	IN_A_4 = 0;
	RESET_SD_A_4;

	IN_B_4 = 0;
	RESET_SD_B_4;

	IN_C_4 = 0;
	RESET_SD_C_4;
}

void Module1_2inv(void) {
	if (HAL_GPIO_ReadPin(GPIOB, HS1_Pin)
			&& HAL_GPIO_ReadPin(GPIOB, HS2_Pin)
			&& !HAL_GPIO_ReadPin(GPIOB, HS3_Pin)) {
		state1_inv1();
		state1_inv3();
	}

	else if (HAL_GPIO_ReadPin(GPIOB, HS1_Pin)
			&& !HAL_GPIO_ReadPin(GPIOB, HS2_Pin)
			&& !HAL_GPIO_ReadPin(GPIOB, HS3_Pin)) {
		state2_inv1();
		state2_inv3();
	}

	else if (HAL_GPIO_ReadPin(GPIOB, HS1_Pin)
			&& !HAL_GPIO_ReadPin(GPIOB, HS2_Pin)
			&& HAL_GPIO_ReadPin(GPIOB, HS3_Pin)) {
		state3_inv1();
		state3_inv3();
	}

	else if (!HAL_GPIO_ReadPin(GPIOB, HS1_Pin)
			&& !HAL_GPIO_ReadPin(GPIOB, HS2_Pin)
			&& HAL_GPIO_ReadPin(GPIOB, HS3_Pin)) {
		state4_inv1();
		state4_inv3();
	}

	else if (!HAL_GPIO_ReadPin(GPIOB, HS1_Pin)
			&& HAL_GPIO_ReadPin(GPIOB, HS2_Pin)
			&& HAL_GPIO_ReadPin(GPIOB, HS3_Pin)) {
		state5_inv1();
		state5_inv3();
	}

	else if (!HAL_GPIO_ReadPin(GPIOB, HS1_Pin)
			&& HAL_GPIO_ReadPin(GPIOB, HS2_Pin)
			&& !HAL_GPIO_ReadPin(GPIOB, HS3_Pin)) {
		state6_inv1();
		state6_inv3();
	}

}
void Module2_2inv(void) {
	if (HAL_GPIO_ReadPin(GPIOC, HS4_Pin)
			&& HAL_GPIO_ReadPin(GPIOC, HS5_Pin)
			&& !HAL_GPIO_ReadPin(GPIOC, HS6_Pin)) {
		state1_inv2();
		state1_inv4();
	}

	else if (HAL_GPIO_ReadPin(GPIOC, HS4_Pin)
			&& !HAL_GPIO_ReadPin(GPIOC, HS5_Pin)
			&& !HAL_GPIO_ReadPin(GPIOC, HS6_Pin)) {
		state2_inv2();
		state2_inv4();
	}

	else if (HAL_GPIO_ReadPin(GPIOC, HS4_Pin)
			&& !HAL_GPIO_ReadPin(GPIOC, HS5_Pin)
			&& HAL_GPIO_ReadPin(GPIOC, HS6_Pin)) {
		state3_inv2();
		state3_inv4();
	}

	else if (!HAL_GPIO_ReadPin(GPIOC, HS4_Pin)
			&& !HAL_GPIO_ReadPin(GPIOC, HS5_Pin)
			&& HAL_GPIO_ReadPin(GPIOC, HS6_Pin)) {
		state4_inv2();
		state4_inv4();
	}

	else if (!HAL_GPIO_ReadPin(GPIOC, HS4_Pin)
			&& HAL_GPIO_ReadPin(GPIOC, HS5_Pin)
			&& HAL_GPIO_ReadPin(GPIOC, HS6_Pin)) {
		state5_inv2();
		state5_inv4();
	}

	else if (!HAL_GPIO_ReadPin(GPIOC, HS4_Pin)
			&& HAL_GPIO_ReadPin(GPIOC, HS5_Pin)
			&& !HAL_GPIO_ReadPin(GPIOC, HS6_Pin)) {
		state6_inv2();
		state6_inv4();
	}
}

void Inverter1(uint8_t inv_mode) {
	/*
	inv_mode == 1- all switches are off
	inv_mode == 2- low switches are on, high switches are off
	inv_mode == 3- 120 deg. commutation with PWM
	inv_mode == 4- 120 deg. commutation without PWM
	*/

	if (inv_mode == 1) {
		stateOff_inv1();
	}

	else if (inv_mode == 2) {
		state0_inv1();
	}
	else if (inv_mode == 3) {
		if (HAL_GPIO_ReadPin(GPIOB, HS1_Pin) && HAL_GPIO_ReadPin(GPIOB, HS2_Pin)
				&& !HAL_GPIO_ReadPin(GPIOB, HS3_Pin)) {
			state1_inv1();
		}

		else if (HAL_GPIO_ReadPin(GPIOB, HS1_Pin)
				&& !HAL_GPIO_ReadPin(GPIOB, HS2_Pin)
				&& !HAL_GPIO_ReadPin(GPIOB, HS3_Pin)) {
			state2_inv1();
		}

		else if (HAL_GPIO_ReadPin(GPIOB, HS1_Pin)
				&& !HAL_GPIO_ReadPin(GPIOB, HS2_Pin)
				&& HAL_GPIO_ReadPin(GPIOB, HS3_Pin)) {
			state3_inv1();
		}

		else if (!HAL_GPIO_ReadPin(GPIOB, HS1_Pin)
				&& !HAL_GPIO_ReadPin(GPIOB, HS2_Pin)
				&& HAL_GPIO_ReadPin(GPIOB, HS3_Pin)) {
			state4_inv1();
		}

		else if (!HAL_GPIO_ReadPin(GPIOB, HS1_Pin)
				&& HAL_GPIO_ReadPin(GPIOB, HS2_Pin)
				&& HAL_GPIO_ReadPin(GPIOB, HS3_Pin)) {
			state5_inv1();
		}

		else if (!HAL_GPIO_ReadPin(GPIOB, HS1_Pin)
				&& HAL_GPIO_ReadPin(GPIOB, HS2_Pin)
				&& !HAL_GPIO_ReadPin(GPIOB, HS3_Pin)) {
			state6_inv1();
		}
	}
		else if (inv_mode == 4) {
			PWM1= 4095;
		if (HAL_GPIO_ReadPin(GPIOB, HS1_Pin) && HAL_GPIO_ReadPin(GPIOB, HS2_Pin)
				&& !HAL_GPIO_ReadPin(GPIOB, HS3_Pin)) {
			state1_inv1();
		}

		else if (HAL_GPIO_ReadPin(GPIOB, HS1_Pin)
				&& !HAL_GPIO_ReadPin(GPIOB, HS2_Pin)
				&& !HAL_GPIO_ReadPin(GPIOB, HS3_Pin)) {
			state2_inv1();
		}

		else if (HAL_GPIO_ReadPin(GPIOB, HS1_Pin)
				&& !HAL_GPIO_ReadPin(GPIOB, HS2_Pin)
				&& HAL_GPIO_ReadPin(GPIOB, HS3_Pin)) {
			state3_inv1();
		}

		else if (!HAL_GPIO_ReadPin(GPIOB, HS1_Pin)
				&& !HAL_GPIO_ReadPin(GPIOB, HS2_Pin)
				&& HAL_GPIO_ReadPin(GPIOB, HS3_Pin)) {
			state4_inv1();
		}

		else if (!HAL_GPIO_ReadPin(GPIOB, HS1_Pin)
				&& HAL_GPIO_ReadPin(GPIOB, HS2_Pin)
				&& HAL_GPIO_ReadPin(GPIOB, HS3_Pin)) {
			state5_inv1();
		}

		else if (!HAL_GPIO_ReadPin(GPIOB, HS1_Pin)
				&& HAL_GPIO_ReadPin(GPIOB, HS2_Pin)
				&& !HAL_GPIO_ReadPin(GPIOB, HS3_Pin)) {
			state6_inv1();
		}
	}
}
void Inverter3(uint8_t inv_mode) {
	if (inv_mode == 1) {
		stateOff_inv3();
	}

	else if (inv_mode == 2) {
		state0_inv3();
	}
	else if (inv_mode == 3) {
		if (HAL_GPIO_ReadPin(GPIOB, HS1_Pin) && HAL_GPIO_ReadPin(GPIOB, HS2_Pin)
				&& !HAL_GPIO_ReadPin(GPIOB, HS3_Pin)) {
			state1_inv3();
		}

		else if (HAL_GPIO_ReadPin(GPIOB, HS1_Pin)
				&& !HAL_GPIO_ReadPin(GPIOB, HS2_Pin)
				&& !HAL_GPIO_ReadPin(GPIOB, HS3_Pin)) {
			state2_inv3();
		}

		else if (HAL_GPIO_ReadPin(GPIOB, HS1_Pin)
				&& !HAL_GPIO_ReadPin(GPIOB, HS2_Pin)
				&& HAL_GPIO_ReadPin(GPIOB, HS3_Pin)) {
			state3_inv3();
		}

		else if (!HAL_GPIO_ReadPin(GPIOB, HS1_Pin)
				&& !HAL_GPIO_ReadPin(GPIOB, HS2_Pin)
				&& HAL_GPIO_ReadPin(GPIOB, HS3_Pin)) {
			state4_inv3();
		}

		else if (!HAL_GPIO_ReadPin(GPIOB, HS1_Pin)
				&& HAL_GPIO_ReadPin(GPIOB, HS2_Pin)
				&& HAL_GPIO_ReadPin(GPIOB, HS3_Pin)) {
			state5_inv3();
		}

		else if (!HAL_GPIO_ReadPin(GPIOB, HS1_Pin)
				&& HAL_GPIO_ReadPin(GPIOB, HS2_Pin)
				&& !HAL_GPIO_ReadPin(GPIOB, HS3_Pin)) {
			state6_inv3();
		}
	}

		else if (inv_mode == 4) {
			PWM3 = 4095;
		if (HAL_GPIO_ReadPin(GPIOB, HS1_Pin) && HAL_GPIO_ReadPin(GPIOB, HS2_Pin)
				&& !HAL_GPIO_ReadPin(GPIOB, HS3_Pin)) {
			state1_inv3();
		}

		else if (HAL_GPIO_ReadPin(GPIOB, HS1_Pin)
				&& !HAL_GPIO_ReadPin(GPIOB, HS2_Pin)
				&& !HAL_GPIO_ReadPin(GPIOB, HS3_Pin)) {
			state2_inv3();
		}

		else if (HAL_GPIO_ReadPin(GPIOB, HS1_Pin)
				&& !HAL_GPIO_ReadPin(GPIOB, HS2_Pin)
				&& HAL_GPIO_ReadPin(GPIOB, HS3_Pin)) {
			state3_inv3();
		}

		else if (!HAL_GPIO_ReadPin(GPIOB, HS1_Pin)
				&& !HAL_GPIO_ReadPin(GPIOB, HS2_Pin)
				&& HAL_GPIO_ReadPin(GPIOB, HS3_Pin)) {
			state4_inv3();
		}

		else if (!HAL_GPIO_ReadPin(GPIOB, HS1_Pin)
				&& HAL_GPIO_ReadPin(GPIOB, HS2_Pin)
				&& HAL_GPIO_ReadPin(GPIOB, HS3_Pin)) {
			state5_inv3();
		}

		else if (!HAL_GPIO_ReadPin(GPIOB, HS1_Pin)
				&& HAL_GPIO_ReadPin(GPIOB, HS2_Pin)
				&& !HAL_GPIO_ReadPin(GPIOB, HS3_Pin)) {
			state6_inv3();
		}
	}
}
void Inverter2(uint8_t inv_mode) {
	if (inv_mode == 1) {
		stateOff_inv2();
	}

	else if (inv_mode == 2) {
		state0_inv2();
	}
	else if (inv_mode == 3) {
		if (HAL_GPIO_ReadPin(GPIOC, HS4_Pin)
					&& HAL_GPIO_ReadPin(GPIOC, HS5_Pin)
					&& !HAL_GPIO_ReadPin(GPIOC, HS6_Pin)) {
				state1_inv2();
			}

			else if (HAL_GPIO_ReadPin(GPIOC, HS4_Pin)
					&& !HAL_GPIO_ReadPin(GPIOC, HS5_Pin)
					&& !HAL_GPIO_ReadPin(GPIOC, HS6_Pin)) {
				state2_inv2();
			}

			else if (HAL_GPIO_ReadPin(GPIOC, HS4_Pin)
					&& !HAL_GPIO_ReadPin(GPIOC, HS5_Pin)
					&& HAL_GPIO_ReadPin(GPIOC, HS6_Pin)) {
				state3_inv2();
			}

			else if (!HAL_GPIO_ReadPin(GPIOC, HS4_Pin)
					&& !HAL_GPIO_ReadPin(GPIOC, HS5_Pin)
					&& HAL_GPIO_ReadPin(GPIOC, HS6_Pin)) {
				state4_inv2();
			}

			else if (!HAL_GPIO_ReadPin(GPIOC, HS4_Pin)
					&& HAL_GPIO_ReadPin(GPIOC, HS5_Pin)
					&& HAL_GPIO_ReadPin(GPIOC, HS6_Pin)) {
				state5_inv2();
			}

			else if (!HAL_GPIO_ReadPin(GPIOC, HS4_Pin)
					&& HAL_GPIO_ReadPin(GPIOC, HS5_Pin)
					&& !HAL_GPIO_ReadPin(GPIOC, HS6_Pin)) {
				state6_inv2();
			}
	}

	else if (inv_mode == 4) {
		PWM2 = 4095;
		if (HAL_GPIO_ReadPin(GPIOC, HS4_Pin) && HAL_GPIO_ReadPin(GPIOC, HS5_Pin)
				&& !HAL_GPIO_ReadPin(GPIOC, HS6_Pin)) {
			state1_inv2();
		}

		else if (HAL_GPIO_ReadPin(GPIOC, HS4_Pin)
				&& !HAL_GPIO_ReadPin(GPIOC, HS5_Pin)
				&& !HAL_GPIO_ReadPin(GPIOC, HS6_Pin)) {
			state2_inv2();
		}

		else if (HAL_GPIO_ReadPin(GPIOC, HS4_Pin)
				&& !HAL_GPIO_ReadPin(GPIOC, HS5_Pin)
				&& HAL_GPIO_ReadPin(GPIOC, HS6_Pin)) {
			state3_inv2();
		}

		else if (!HAL_GPIO_ReadPin(GPIOC, HS4_Pin)
				&& !HAL_GPIO_ReadPin(GPIOC, HS5_Pin)
				&& HAL_GPIO_ReadPin(GPIOC, HS6_Pin)) {
			state4_inv2();
		}

		else if (!HAL_GPIO_ReadPin(GPIOC, HS4_Pin)
				&& HAL_GPIO_ReadPin(GPIOC, HS5_Pin)
				&& HAL_GPIO_ReadPin(GPIOC, HS6_Pin)) {
			state5_inv2();
		}

		else if (!HAL_GPIO_ReadPin(GPIOC, HS4_Pin)
				&& HAL_GPIO_ReadPin(GPIOC, HS5_Pin)
				&& !HAL_GPIO_ReadPin(GPIOC, HS6_Pin)) {
			state6_inv2();
		}
	}
}
void Inverter4(uint8_t inv_mode) {
	if (inv_mode == 1) {
		stateOff_inv4();
	}

	else if (inv_mode == 2) {
		state0_inv4();
	}
	else if (inv_mode == 3) {
		if (HAL_GPIO_ReadPin(GPIOC, HS4_Pin)
					&& HAL_GPIO_ReadPin(GPIOC, HS5_Pin)
					&& !HAL_GPIO_ReadPin(GPIOC, HS6_Pin)) {
				state1_inv4();
			}

			else if (HAL_GPIO_ReadPin(GPIOC, HS4_Pin)
					&& !HAL_GPIO_ReadPin(GPIOC, HS5_Pin)
					&& !HAL_GPIO_ReadPin(GPIOC, HS6_Pin)) {
				state2_inv4();
			}

			else if (HAL_GPIO_ReadPin(GPIOC, HS4_Pin)
					&& !HAL_GPIO_ReadPin(GPIOC, HS5_Pin)
					&& HAL_GPIO_ReadPin(GPIOC, HS6_Pin)) {
				state3_inv4();
			}

			else if (!HAL_GPIO_ReadPin(GPIOC, HS4_Pin)
					&& !HAL_GPIO_ReadPin(GPIOC, HS5_Pin)
					&& HAL_GPIO_ReadPin(GPIOC, HS6_Pin)) {
				state4_inv4();
			}

			else if (!HAL_GPIO_ReadPin(GPIOC, HS4_Pin)
					&& HAL_GPIO_ReadPin(GPIOC, HS5_Pin)
					&& HAL_GPIO_ReadPin(GPIOC, HS6_Pin)) {
				state5_inv4();
			}

			else if (!HAL_GPIO_ReadPin(GPIOC, HS4_Pin)
					&& HAL_GPIO_ReadPin(GPIOC, HS5_Pin)
					&& !HAL_GPIO_ReadPin(GPIOC, HS6_Pin)) {
				state6_inv4();
			}
	}

	else if (inv_mode == 4) {
		PWM4 = 4095;
		if (HAL_GPIO_ReadPin(GPIOC, HS4_Pin) && HAL_GPIO_ReadPin(GPIOC, HS5_Pin)
				&& !HAL_GPIO_ReadPin(GPIOC, HS6_Pin)) {
			state1_inv4();
		}

		else if (HAL_GPIO_ReadPin(GPIOC, HS4_Pin)
				&& !HAL_GPIO_ReadPin(GPIOC, HS5_Pin)
				&& !HAL_GPIO_ReadPin(GPIOC, HS6_Pin)) {
			state2_inv4();
		}

		else if (HAL_GPIO_ReadPin(GPIOC, HS4_Pin)
				&& !HAL_GPIO_ReadPin(GPIOC, HS5_Pin)
				&& HAL_GPIO_ReadPin(GPIOC, HS6_Pin)) {
			state3_inv4();
		}

		else if (!HAL_GPIO_ReadPin(GPIOC, HS4_Pin)
				&& !HAL_GPIO_ReadPin(GPIOC, HS5_Pin)
				&& HAL_GPIO_ReadPin(GPIOC, HS6_Pin)) {
			state4_inv4();
		}

		else if (!HAL_GPIO_ReadPin(GPIOC, HS4_Pin)
				&& HAL_GPIO_ReadPin(GPIOC, HS5_Pin)
				&& HAL_GPIO_ReadPin(GPIOC, HS6_Pin)) {
			state5_inv4();
		}

		else if (!HAL_GPIO_ReadPin(GPIOC, HS4_Pin)
				&& HAL_GPIO_ReadPin(GPIOC, HS5_Pin)
				&& !HAL_GPIO_ReadPin(GPIOC, HS6_Pin)) {
			state6_inv4();
		}
	}
}

/* USER CODE END 4 */

void Error_Handler(void)
{
  __disable_irq();
  while (1)
  {
  }
}
